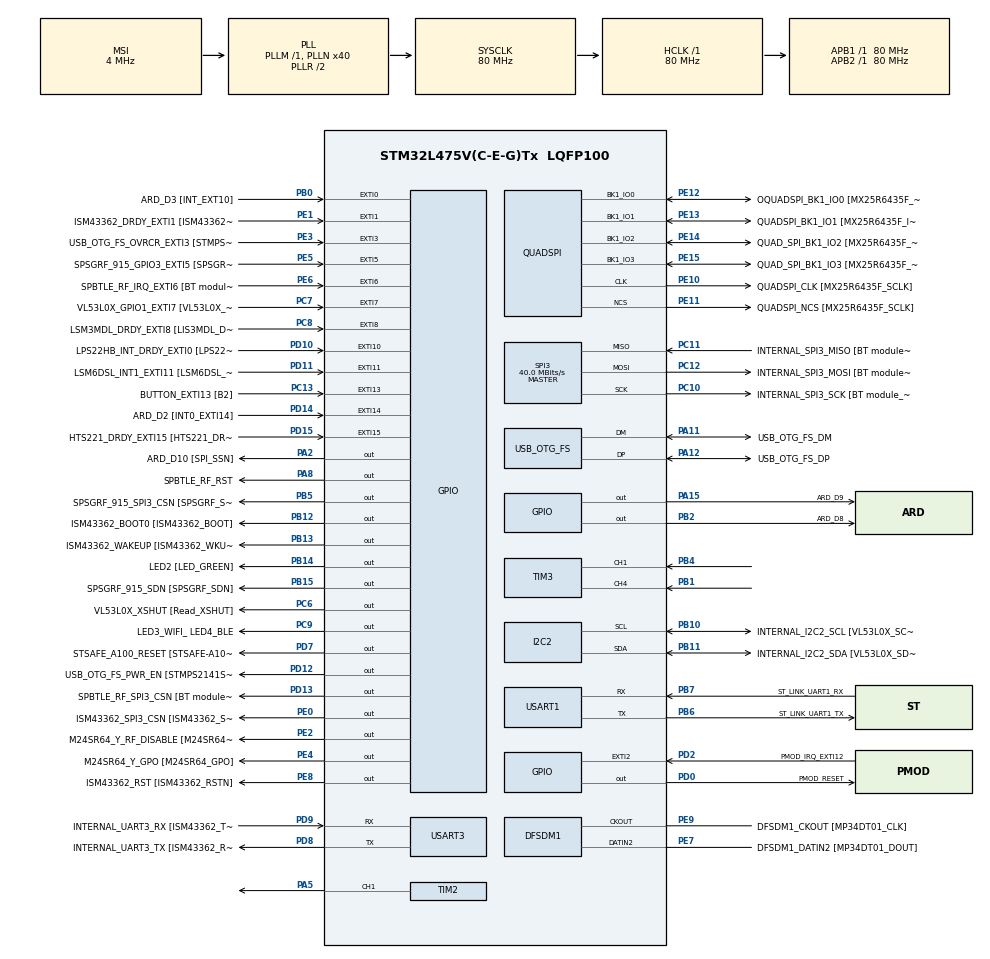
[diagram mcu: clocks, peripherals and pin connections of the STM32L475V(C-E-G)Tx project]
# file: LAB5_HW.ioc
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I2C2.Timing=0x10D19CE4
Mcu.Family=STM32L4
Mcu.Name=STM32L475V(C-E-G)Tx
Mcu.Package=LQFP100
NVIC.EXTI15_10_IRQn=true\:0\:0\:false\:false\:true\:true\:true\:true
NVIC.EXTI9_5_IRQn=true\:0\:0\:false\:false\:true\:true\:true\:true
NVIC.PriorityGroup=NVIC_PRIORITYGROUP_4
NVIC.TIM3_IRQn=true\:0\:0\:false\:false\:true\:true\:true\:true
PA0.GPIO_Label=ARD_D1 [UART4_TX]
PA0.Signal=UART4_TX
PA1.GPIO_Label=ARD_D0 [UART4_RX]
PA1.Signal=UART4_RX
PA10.GPIO_Label=USB_OTG_FS_ID
PA10.Signal=USB_OTG_FS_ID
PA11.GPIO_Label=USB_OTG_FS_DM
PA11.Mode=Device_Only
PA11.Signal=USB_OTG_FS_DM
PA12.GPIO_Label=USB_OTG_FS_DP
PA12.Mode=Device_Only
PA12.Signal=USB_OTG_FS_DP
PA13\ (JTMS-SWDIO).GPIO_Label=SYS_JTMS_SWDIO
PA13\ (JTMS-SWDIO).Mode=Serial_Wire
PA13\ (JTMS-SWDIO).Signal=SYS_JTMS-SWDIO
PA14\ (JTCK-SWCLK).GPIO_Label=SYS_JTCK_SWCLK
PA14\ (JTCK-SWCLK).Mode=Serial_Wire
PA14\ (JTCK-SWCLK).Signal=SYS_JTCK-SWCLK
PA15\ (JTDI).GPIO_Label=ARD_D9
PA15\ (JTDI).Signal=GPIO_Output
PA2.GPIO_Label=ARD_D10 [SPI_SSN]
PA2.Signal=GPIO_Output
PA3.GPIO_Label=ARD_D4
PA3.Signal=S_TIM2_CH4
PA4.GPIO_Label=ARD_D7
PA4.Signal=ADCx_IN9
PA5.Signal=S_TIM2_CH1
PA6.GPIO_Label=ARD_D12 [SPI1_MISO]
PA6.Signal=SPI1_MISO
PA7.GPIO_Label=ARD_D11 [SPI1_MOSI]
PA7.Signal=SPI1_MOSI
PA8.GPIO_Label=SPBTLE_RF_RST
PA8.Signal=GPIO_Output
PA9.GPIO_Label=USB_OTG_FS_VBUS [STMPS2141STR_OUT]
PA9.Signal=USB_OTG_FS_VBUS
PB0.GPIO_Label=ARD_D3 [INT_EXT10]
PB0.Signal=GPXTI0
PB1.Signal=S_TIM3_CH4
PB10.GPIO_Label=INTERNAL_I2C2_SCL [VL53L0X_SCL]
PB10.GPIO_Pu=GPIO_PULLUP
PB10.Mode=I2C
PB10.Signal=I2C2_SCL
PB11.GPIO_Label=INTERNAL_I2C2_SDA [VL53L0X_SDA]
PB11.GPIO_Pu=GPIO_PULLUP
PB11.Mode=I2C
PB11.Signal=I2C2_SDA
PB12.GPIO_Label=ISM43362_BOOT0 [ISM43362_BOOT]
PB12.Signal=GPIO_Output
PB13.GPIO_Label=ISM43362_WAKEUP [ISM43362_WKUP]
PB13.Signal=GPIO_Output
PB14.GPIO_Label=LED2 [LED_GREEN]
PB14.Signal=GPIO_Output
PB15.GPIO_Label=SPSGRF_915_SDN [SPSGRF_SDN]
PB15.Signal=GPIO_Output
PB2.GPIO_Label=ARD_D8
PB2.Signal=GPIO_Output
PB3\ (JTDO-TRACESWO).GPIO_Label=SYS_JTD0_SWO
PB3\ (JTDO-TRACESWO).Signal=SYS_JTDO-SWO
PB4\ (NJTRST).Signal=S_TIM3_CH1
PB5.GPIO_Label=SPSGRF_915_SPI3_CSN [SPSGRF_SPI_CS]
PB5.PinState=GPIO_PIN_SET
PB5.Signal=GPIO_Output
PB6.GPIO_Label=ST_LINK_UART1_TX
PB6.Mode=Asynchronous
PB6.Signal=USART1_TX
PB7.GPIO_Label=ST_LINK_UART1_RX
PB7.Mode=Asynchronous
PB7.Signal=USART1_RX
PB8.GPIO_Label=ARD_D15 [I2C1_SCL]
PB8.Signal=I2C1_SCL
PB9.GPIO_Label=ARD_D14 [I2C1_SDA]
PB9.Signal=I2C1_SDA
PC0.GPIO_Label=ARD_A5 [ADC]
PC0.Signal=ADCx_IN1
PC1.GPIO_Label=ARD_A4 [ADC]
PC1.Signal=ADCx_IN2
PC10.GPIO_Label=INTERNAL_SPI3_SCK [BT module_SPI_SCLK] [ISM43362_SCK]
PC10.Mode=Full_Duplex_Master
PC10.Signal=SPI3_SCK
PC11.GPIO_Label=INTERNAL_SPI3_MISO [BT module_SPI_MISO] [ISM43362_MISO]
PC11.Mode=Full_Duplex_Master
PC11.Signal=SPI3_MISO
PC12.GPIO_Label=INTERNAL_SPI3_MOSI [BT module_SPI_MOSI] [ISM43362_MOSI]
PC12.Mode=Full_Duplex_Master
PC12.Signal=SPI3_MOSI
PC13.GPIO_Label=BUTTON_EXTI13 [B2]
PC13.GPIO_ModeDefaultEXTI=GPIO_MODE_IT_FALLING
PC13.Signal=GPXTI13
PC14-OSC32_IN\ (PC14).Mode=LSE-External-Oscillator
PC14-OSC32_IN\ (PC14).Signal=RCC_OSC32_IN
PC15-OSC32_OUT\ (PC15).Mode=LSE-External-Oscillator
PC15-OSC32_OUT\ (PC15).Signal=RCC_OSC32_OUT
PC2.GPIO_Label=ARD_A3 [ADC]
PC2.Signal=ADCx_IN3
PC3.GPIO_Label=ARD_A2 [ADC]
PC3.Signal=ADCx_IN4
PC4.GPIO_Label=ARD_A1 [ADC]
PC4.Signal=ADCx_IN13
PC5.GPIO_Label=ARD_A0 [ADC]
PC5.Signal=ADCx_IN14
PC6.GPIO_Label=VL53L0X_XSHUT [Read_XSHUT]
PC6.Signal=GPIO_Output
PC7.GPIO_Label=VL53L0X_GPIO1_EXTI7 [VL53L0X_GPIO1]
PC7.Signal=GPXTI7
PC8.GPIO_Label=LSM3MDL_DRDY_EXTI8 [LIS3MDL_DRDY]
PC8.Signal=GPXTI8
PC9.GPIO_Label=LED3_WIFI_ LED4_BLE
PC9.Signal=GPIO_Output
PD0.GPIO_Label=PMOD_RESET
PD0.Signal=GPIO_Output
PD1.GPIO_Label=PMOD_SPI2_SCK
PD1.Signal=SPI2_SCK
PD10.GPIO_Label=LPS22HB_INT_DRDY_EXTI0 [LPS22HB_INT_DRDY] 
PD10.Signal=GPXTI10
PD11.GPIO_Label=LSM6DSL_INT1_EXTI11 [LSM6DSL_INT1]
PD11.Signal=GPXTI11
PD12.GPIO_Label=USB_OTG_FS_PWR_EN [STMPS2141STR_EN]
PD12.Signal=GPIO_Output
PD13.GPIO_Label=SPBTLE_RF_SPI3_CSN [BT module_SPI_CS]
PD13.PinState=GPIO_PIN_SET
PD13.Signal=GPIO_Output
PD14.GPIO_Label=ARD_D2 [INT0_EXTI14]
PD14.Signal=GPXTI14
PD15.GPIO_Label=HTS221_DRDY_EXTI15 [HTS221_DRDY]
PD15.Signal=GPXTI15
PD2.GPIO_Label=PMOD_IRQ_EXTI12
PD2.Signal=GPXTI2
PD3.GPIO_Label=PMOD_UART2_CTS
PD3.Signal=USART2_CTS
PD4.GPIO_Label=PMOD_UART2_RTS
PD4.Signal=USART2_RTS
PD5.GPIO_Label=PMOD_UART2_TX
PD5.Signal=USART2_TX
PD6.GPIO_Label=PMOD_UART2_RX
PD6.Signal=USART2_RX
PD7.GPIO_Label=STSAFE_A100_RESET [STSAFE-A100_RESET]
PD7.Signal=GPIO_Output
PD8.GPIO_Label=INTERNAL_UART3_TX [ISM43362_RX]
PD8.Mode=Asynchronous
PD8.Signal=USART3_TX
PD9.GPIO_Label=INTERNAL_UART3_RX [ISM43362_TX]
PD9.Mode=Asynchronous
PD9.Signal=USART3_RX
PE0.GPIO_Label=ISM43362_SPI3_CSN [ISM43362_SSN]
PE0.PinState=GPIO_PIN_SET
PE0.Signal=GPIO_Output
PE1.GPIO_Label=ISM43362_DRDY_EXTI1 [ISM43362_DATARDY]
PE1.Signal=GPXTI1
PE10.GPIO_Label=QUADSPI_CLK [MX25R6435F_SCLK]
PE10.Mode=Single Bank
PE10.Signal=QUADSPI_CLK
PE11.GPIO_Label=QUADSPI_NCS [MX25R6435F_SCLK]
PE11.Mode=Single Bank
PE11.Signal=QUADSPI_NCS
PE12.GPIO_Label=OQUADSPI_BK1_IO0 [MX25R6435F_IO0]
PE12.Mode=Single Bank
PE12.Signal=QUADSPI_BK1_IO0
PE13.GPIO_Label=QUADSPI_BK1_IO1 [MX25R6435F_IO1]
PE13.Mode=Single Bank
PE13.Signal=QUADSPI_BK1_IO1
PE14.GPIO_Label=QUAD_SPI_BK1_IO2 [MX25R6435F_IO2]
PE14.Mode=Single Bank
PE14.Signal=QUADSPI_BK1_IO2
PE15.GPIO_Label=QUAD_SPI_BK1_IO3 [MX25R6435F_IO3]
PE15.Mode=Single Bank
PE15.Signal=QUADSPI_BK1_IO3
PE2.GPIO_Label=M24SR64_Y_RF_DISABLE [M24SR64_RFDIS]
PE2.Signal=GPIO_Output
PE3.GPIO_Label=USB_OTG_FS_OVRCR_EXTI3 [STMPS2141STR_FAULT]
PE3.Signal=GPXTI3
PE4.GPIO_Label=M24SR64_Y_GPO [M24SR64_GPO]
PE4.Signal=GPIO_Output
PE5.GPIO_Label=SPSGRF_915_GPIO3_EXTI5 [SPSGRF_GPIO_3]
PE5.Signal=GPXTI5
PE6.GPIO_Label=SPBTLE_RF_IRQ_EXTI6 [BT module_SPI_IRQ]
PE6.Signal=GPXTI6
PE7.GPIO_Label=DFSDM1_DATIN2 [MP34DT01_DOUT]
PE7.Signal=S_DATAIN2DFSDM1
PE8.GPIO_Label=ISM43362_RST [ISM43362_RSTN]
PE8.Signal=GPIO_Output
PE9.GPIO_Label=DFSDM1_CKOUT [MP34DT01_CLK]
PE9.Signal=S_CKOUTDFSDM1
ProjectManager.HeapSize=0x200
ProjectManager.StackSize=0x400
ProjectManager.TargetToolchain=STM32CubeIDE
QUADSPI.ClockPrescaler=2
QUADSPI.FifoThreshold=4
QUADSPI.FlashSize=23
QUADSPI.SampleShifting=QSPI_SAMPLE_SHIFTING_HALFCYCLE
RCC.ADCFreq_Value=48000000
RCC.AHBFreq_Value=80000000
RCC.APB1Freq_Value=80000000
RCC.APB1TimFreq_Value=80000000
RCC.APB2Freq_Value=80000000
RCC.APB2TimFreq_Value=80000000
RCC.CortexFreq_Value=80000000
RCC.HCLKFreq_Value=80000000
RCC.HSE_VALUE=8000000
RCC.HSI_VALUE=16000000
RCC.MSI_VALUE=4000000
RCC.PLLN=40
RCC.PLLSAI1N=24
RCC.SYSCLKFreq_VALUE=80000000
RCC.SYSCLKSource=RCC_SYSCLKSOURCE_PLLCLK
RCC.USBFreq_Value=48000000
RCC.VCOOutputFreq_Value=160000000
SH.ADCx_IN1.0=ADC1_IN1
SH.ADCx_IN13.0=ADC1_IN13
SH.ADCx_IN14.0=ADC1_IN14
SH.ADCx_IN2.0=ADC1_IN2
SH.ADCx_IN3.0=ADC1_IN3
SH.ADCx_IN4.0=ADC1_IN4
SH.ADCx_IN9.0=ADC1_IN9
SH.S_CKOUTDFSDM1.0=DFSDM1_CKOUT,CKOUT
SH.S_CKOUTDFSDM1.1=DFSDM1_CKOUT,PDM_SPI_Input_from_ch12_and_Internal_Clock
SH.S_DATAIN2DFSDM1.0=DFSDM1_DATIN2,PDM_SPI_Input_from_ch12_and_Internal_Clock
SH.S_TIM2_CH1.0=TIM2_CH1,PWM Generation1 CH1
SH.S_TIM2_CH4.0=TIM2_CH4
SH.S_TIM3_CH1.0=TIM3_CH1,Input_Capture1_from_TI1
SH.S_TIM3_CH4.0=TIM3_CH4,Input_Capture4_from_TI4
SPI3.CalculateBaudRate=40.0 MBits/s
SPI3.Direction=SPI_DIRECTION_2LINES
SPI3.Mode=SPI_MODE_MASTER
SPI3.VirtualType=VM_MASTER
TIM2.Channel-PWM\ Generation1\ CH1=TIM_CHANNEL_1
TIM2.Period=100-1
TIM2.Prescaler=800-1
TIM3.Channel-Input_Capture1_from_TI1=TIM_CHANNEL_1
TIM3.Channel-Input_Capture4_from_TI4=TIM_CHANNEL_4
USART1.VirtualMode-Asynchronous=VM_ASYNC
USART3.VirtualMode-Asynchronous=VM_ASYNC
USB_OTG_FS.VirtualMode=Device_Only
board=B-L475E-IOT01A2

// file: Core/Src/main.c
/* USER CODE BEGIN Header */
/**
  ******************************************************************************
  * @file           : main.c
  * @brief          : Main program body
  ******************************************************************************
  * @attention
  *
  * Copyright (c) 2025 STMicroelectronics.
  * All rights reserved.
  *
  * This software is licensed under terms that can be found in the LICENSE file
  * in the root directory of this software component.
  * If no LICENSE file comes with this software, it is provided AS-IS.
  *
  ******************************************************************************
  */
/* USER CODE END Header */
#include "main.h"

DFSDM_Channel_HandleTypeDef hdfsdm1_channel1;

I2C_HandleTypeDef hi2c2;

QSPI_HandleTypeDef hqspi;

SPI_HandleTypeDef hspi3;

TIM_HandleTypeDef htim2;
TIM_HandleTypeDef htim3;

UART_HandleTypeDef huart1;
UART_HandleTypeDef huart3;

PCD_HandleTypeDef hpcd_USB_OTG_FS;

void SystemClock_Config(void);
static void MX_GPIO_Init(void);
static void MX_DFSDM1_Init(void);
static void MX_I2C2_Init(void);
static void MX_QUADSPI_Init(void);
static void MX_SPI3_Init(void);
static void MX_USART1_UART_Init(void);
static void MX_USART3_UART_Init(void);
static void MX_USB_OTG_FS_PCD_Init(void);
static void MX_TIM2_Init(void);
static void MX_TIM3_Init(void);

int main(void)
{

  /* MCU Configuration--------------------------------------------------------*/

  /* Reset of all peripherals, Initializes the Flash interface and the Systick. */
  HAL_Init();

  /* Configure the system clock */
  SystemClock_Config();

  /* Initialize all configured peripherals */
  MX_GPIO_Init();
  MX_DFSDM1_Init();
  MX_I2C2_Init();
  MX_QUADSPI_Init();
  MX_SPI3_Init();
  MX_USART1_UART_Init();
  MX_USART3_UART_Init();
  MX_USB_OTG_FS_PCD_Init();
  MX_TIM2_Init();
  MX_TIM3_Init();
  /* USER CODE BEGIN 2 */
  HAL_TIM_PWM_Start(&htim2, TIM_CHANNEL_1);
  HAL_TIM_IC_Start_IT(&htim3, TIM_CHANNEL_1);
  HAL_TIM_IC_Start_IT(&htim3, TIM_CHANNEL_4);

  /* USER CODE END 2 */

  /* Infinite loop */
  while (1)
  {
	  TIM2->CCR1 = 10;
  }
}

/* USER CODE BEGIN 4 */
uint32_t last_capture = 0;
float freq = 0;
volatile int x = 0;

void HAL_TIM_IC_CaptureCallback(TIM_HandleTypeDef *htim)
{
  if (htim->Instance == TIM3 && htim->Channel == HAL_TIM_ACTIVE_CHANNEL_1)
  {
    uint32_t current = HAL_TIM_ReadCapturedValue(htim, TIM_CHANNEL_1);
    uint32_t diff = (current >= last_capture) ? (current - last_capture) : (0xFFFF - last_capture + current);
    last_capture = current;
    x++;

    if (diff != 0) {
      // 頻率 = timer clock / prescaler / diff ticks
      float timer_clk = 80000000.0f; // 假設為 80MHz（APB1 Timer Clock）
      freq = (timer_clk / (htim->Init.Prescaler + 1)) / diff / 5530 * 100;
    } else {
      freq = 0;
    }
  }
}

/**
  * @brief System Clock Configuration
  * @retval None
  */
void SystemClock_Config(void)
{
  RCC_OscInitTypeDef RCC_OscInitStruct = {0};
  RCC_ClkInitTypeDef RCC_ClkInitStruct = {0};

  /** Configure the main internal regulator output voltage
  */
  if (HAL_PWREx_ControlVoltageScaling(PWR_REGULATOR_VOLTAGE_SCALE1) != HAL_OK)
  {
    Error_Handler();
  }

  /** Configure LSE Drive Capability
  */
  HAL_PWR_EnableBkUpAccess();
  __HAL_RCC_LSEDRIVE_CONFIG(RCC_LSEDRIVE_LOW);

  /** Initializes the RCC Oscillators according to the specified parameters
  * in the RCC_OscInitTypeDef structure.
  */
  RCC_OscInitStruct.OscillatorType = RCC_OSCILLATORTYPE_LSE|RCC_OSCILLATORTYPE_MSI;
  RCC_OscInitStruct.LSEState = RCC_LSE_ON;
  RCC_OscInitStruct.MSIState = RCC_MSI_ON;
  RCC_OscInitStruct.MSICalibrationValue = 0;
  RCC_OscInitStruct.MSIClockRange = RCC_MSIRANGE_6;
  RCC_OscInitStruct.PLL.PLLState = RCC_PLL_ON;
  RCC_OscInitStruct.PLL.PLLSource = RCC_PLLSOURCE_MSI;
  RCC_OscInitStruct.PLL.PLLM = 1;
  RCC_OscInitStruct.PLL.PLLN = 40;
  RCC_OscInitStruct.PLL.PLLP = RCC_PLLP_DIV7;
  RCC_OscInitStruct.PLL.PLLQ = RCC_PLLQ_DIV2;
  RCC_OscInitStruct.PLL.PLLR = RCC_PLLR_DIV2;
  if (HAL_RCC_OscConfig(&RCC_OscInitStruct) != HAL_OK)
  {
    Error_Handler();
  }

  /** Initializes the CPU, AHB and APB buses clocks
  */
  RCC_ClkInitStruct.ClockType = RCC_CLOCKTYPE_HCLK|RCC_CLOCKTYPE_SYSCLK
                              |RCC_CLOCKTYPE_PCLK1|RCC_CLOCKTYPE_PCLK2;
  RCC_ClkInitStruct.SYSCLKSource = RCC_SYSCLKSOURCE_PLLCLK;
  RCC_ClkInitStruct.AHBCLKDivider = RCC_SYSCLK_DIV1;
  RCC_ClkInitStruct.APB1CLKDivider = RCC_HCLK_DIV1;
  RCC_ClkInitStruct.APB2CLKDivider = RCC_HCLK_DIV1;

  if (HAL_RCC_ClockConfig(&RCC_ClkInitStruct, FLASH_LATENCY_4) != HAL_OK)
  {
    Error_Handler();
  }

  /** Enable MSI Auto calibration
  */
  HAL_RCCEx_EnableMSIPLLMode();
}

/**
  * @brief DFSDM1 Initialization Function
  * @param None
  * @retval None
  */
static void MX_DFSDM1_Init(void)
{

  /* USER CODE BEGIN DFSDM1_Init 0 */

  /* USER CODE END DFSDM1_Init 0 */

  /* USER CODE BEGIN DFSDM1_Init 1 */

  /* USER CODE END DFSDM1_Init 1 */
  hdfsdm1_channel1.Instance = DFSDM1_Channel1;
  hdfsdm1_channel1.Init.OutputClock.Activation = ENABLE;
  hdfsdm1_channel1.Init.OutputClock.Selection = DFSDM_CHANNEL_OUTPUT_CLOCK_SYSTEM;
  hdfsdm1_channel1.Init.OutputClock.Divider = 2;
  hdfsdm1_channel1.Init.Input.Multiplexer = DFSDM_CHANNEL_EXTERNAL_INPUTS;
  hdfsdm1_channel1.Init.Input.DataPacking = DFSDM_CHANNEL_STANDARD_MODE;
  hdfsdm1_channel1.Init.Input.Pins = DFSDM_CHANNEL_FOLLOWING_CHANNEL_PINS;
  hdfsdm1_channel1.Init.SerialInterface.Type = DFSDM_CHANNEL_SPI_RISING;
  hdfsdm1_channel1.Init.SerialInterface.SpiClock = DFSDM_CHANNEL_SPI_CLOCK_INTERNAL;
  hdfsdm1_channel1.Init.Awd.FilterOrder = DFSDM_CHANNEL_FASTSINC_ORDER;
  hdfsdm1_channel1.Init.Awd.Oversampling = 1;
  hdfsdm1_channel1.Init.Offset = 0;
  hdfsdm1_channel1.Init.RightBitShift = 0x00;
  if (HAL_DFSDM_ChannelInit(&hdfsdm1_channel1) != HAL_OK)
  {
    Error_Handler();
  }
  /* USER CODE BEGIN DFSDM1_Init 2 */

  /* USER CODE END DFSDM1_Init 2 */

}

/**
  * @brief I2C2 Initialization Function
  * @param None
  * @retval None
  */
static void MX_I2C2_Init(void)
{

  /* USER CODE BEGIN I2C2_Init 0 */

  /* USER CODE END I2C2_Init 0 */

  /* USER CODE BEGIN I2C2_Init 1 */

  /* USER CODE END I2C2_Init 1 */
  hi2c2.Instance = I2C2;
  hi2c2.Init.Timing = 0x10D19CE4;
  hi2c2.Init.OwnAddress1 = 0;
  hi2c2.Init.AddressingMode = I2C_ADDRESSINGMODE_7BIT;
  hi2c2.Init.DualAddressMode = I2C_DUALADDRESS_DISABLE;
  hi2c2.Init.OwnAddress2 = 0;
  hi2c2.Init.OwnAddress2Masks = I2C_OA2_NOMASK;
  hi2c2.Init.GeneralCallMode = I2C_GENERALCALL_DISABLE;
  hi2c2.Init.NoStretchMode = I2C_NOSTRETCH_DISABLE;
  if (HAL_I2C_Init(&hi2c2) != HAL_OK)
  {
    Error_Handler();
  }

  /** Configure Analogue filter
  */
  if (HAL_I2CEx_ConfigAnalogFilter(&hi2c2, I2C_ANALOGFILTER_ENABLE) != HAL_OK)
  {
    Error_Handler();
  }

  /** Configure Digital filter
  */
  if (HAL_I2CEx_ConfigDigitalFilter(&hi2c2, 0) != HAL_OK)
  {
    Error_Handler();
  }
  /* USER CODE BEGIN I2C2_Init 2 */

  /* USER CODE END I2C2_Init 2 */

}

/**
  * @brief QUADSPI Initialization Function
  * @param None
  * @retval None
  */
static void MX_QUADSPI_Init(void)
{

  /* USER CODE BEGIN QUADSPI_Init 0 */

  /* USER CODE END QUADSPI_Init 0 */

  /* USER CODE BEGIN QUADSPI_Init 1 */

  /* USER CODE END QUADSPI_Init 1 */
  /* QUADSPI parameter configuration*/
  hqspi.Instance = QUADSPI;
  hqspi.Init.ClockPrescaler = 2;
  hqspi.Init.FifoThreshold = 4;
  hqspi.Init.SampleShifting = QSPI_SAMPLE_SHIFTING_HALFCYCLE;
  hqspi.Init.FlashSize = 23;
  hqspi.Init.ChipSelectHighTime = QSPI_CS_HIGH_TIME_1_CYCLE;
  hqspi.Init.ClockMode = QSPI_CLOCK_MODE_0;
  if (HAL_QSPI_Init(&hqspi) != HAL_OK)
  {
    Error_Handler();
  }
  /* USER CODE BEGIN QUADSPI_Init 2 */

  /* USER CODE END QUADSPI_Init 2 */

}

/**
  * @brief SPI3 Initialization Function
  * @param None
  * @retval None
  */
static void MX_SPI3_Init(void)
{

  /* USER CODE BEGIN SPI3_Init 0 */

  /* USER CODE END SPI3_Init 0 */

  /* USER CODE BEGIN SPI3_Init 1 */

  /* USER CODE END SPI3_Init 1 */
  /* SPI3 parameter configuration*/
  hspi3.Instance = SPI3;
  hspi3.Init.Mode = SPI_MODE_MASTER;
  hspi3.Init.Direction = SPI_DIRECTION_2LINES;
  hspi3.Init.DataSize = SPI_DATASIZE_4BIT;
  hspi3.Init.CLKPolarity = SPI_POLARITY_LOW;
  hspi3.Init.CLKPhase = SPI_PHASE_1EDGE;
  hspi3.Init.NSS = SPI_NSS_SOFT;
  hspi3.Init.BaudRatePrescaler = SPI_BAUDRATEPRESCALER_2;
  hspi3.Init.FirstBit = SPI_FIRSTBIT_MSB;
  hspi3.Init.TIMode = SPI_TIMODE_DISABLE;
  hspi3.Init.CRCCalculation = SPI_CRCCALCULATION_DISABLE;
  hspi3.Init.CRCPolynomial = 7;
  hspi3.Init.CRCLength = SPI_CRC_LENGTH_DATASIZE;
  hspi3.Init.NSSPMode = SPI_NSS_PULSE_ENABLE;
  if (HAL_SPI_Init(&hspi3) != HAL_OK)
  {
    Error_Handler();
  }
  /* USER CODE BEGIN SPI3_Init 2 */

  /* USER CODE END SPI3_Init 2 */

}

/**
  * @brief TIM2 Initialization Function
  * @param None
  * @retval None
  */
static void MX_TIM2_Init(void)
{

  /* USER CODE BEGIN TIM2_Init 0 */

  /* USER CODE END TIM2_Init 0 */

  TIM_MasterConfigTypeDef sMasterConfig = {0};
  TIM_OC_InitTypeDef sConfigOC = {0};

  /* USER CODE BEGIN TIM2_Init 1 */

  /* USER CODE END TIM2_Init 1 */
  htim2.Instance = TIM2;
  htim2.Init.Prescaler = 800-1;
  htim2.Init.CounterMode = TIM_COUNTERMODE_UP;
  htim2.Init.Period = 100-1;
  htim2.Init.ClockDivision = TIM_CLOCKDIVISION_DIV1;
  htim2.Init.AutoReloadPreload = TIM_AUTORELOAD_PRELOAD_DISABLE;
  if (HAL_TIM_PWM_Init(&htim2) != HAL_OK)
  {
    Error_Handler();
  }
  sMasterConfig.MasterOutputTrigger = TIM_TRGO_RESET;
  sMasterConfig.MasterSlaveMode = TIM_MASTERSLAVEMODE_DISABLE;
  if (HAL_TIMEx_MasterConfigSynchronization(&htim2, &sMasterConfig) != HAL_OK)
  {
    Error_Handler();
  }
  sConfigOC.OCMode = TIM_OCMODE_PWM1;
  sConfigOC.Pulse = 0;
  sConfigOC.OCPolarity = TIM_OCPOLARITY_HIGH;
  sConfigOC.OCFastMode = TIM_OCFAST_DISABLE;
  if (HAL_TIM_PWM_ConfigChannel(&htim2, &sConfigOC, TIM_CHANNEL_1) != HAL_OK)
  {
    Error_Handler();
  }
  /* USER CODE BEGIN TIM2_Init 2 */

  /* USER CODE END TIM2_Init 2 */
  HAL_TIM_MspPostInit(&htim2);

}

/**
  * @brief TIM3 Initialization Function
  * @param None
  * @retval None
  */
static void MX_TIM3_Init(void)
{

  /* USER CODE BEGIN TIM3_Init 0 */

  /* USER CODE END TIM3_Init 0 */

  TIM_MasterConfigTypeDef sMasterConfig = {0};
  TIM_IC_InitTypeDef sConfigIC = {0};

  /* USER CODE BEGIN TIM3_Init 1 */

  /* USER CODE END TIM3_Init 1 */
  htim3.Instance = TIM3;
  htim3.Init.Prescaler = 0;
  htim3.Init.CounterMode = TIM_COUNTERMODE_UP;
  htim3.Init.Period = 65535;
  htim3.Init.ClockDivision = TIM_CLOCKDIVISION_DIV1;
  htim3.Init.AutoReloadPreload = TIM_AUTORELOAD_PRELOAD_DISABLE;
  if (HAL_TIM_IC_Init(&htim3) != HAL_OK)
  {
    Error_Handler();
  }
  sMasterConfig.MasterOutputTrigger = TIM_TRGO_RESET;
  sMasterConfig.MasterSlaveMode = TIM_MASTERSLAVEMODE_DISABLE;
  if (HAL_TIMEx_MasterConfigSynchronization(&htim3, &sMasterConfig) != HAL_OK)
  {
    Error_Handler();
  }
  sConfigIC.ICPolarity = TIM_INPUTCHANNELPOLARITY_RISING;
  sConfigIC.ICSelection = TIM_ICSELECTION_DIRECTTI;
  sConfigIC.ICPrescaler = TIM_ICPSC_DIV1;
  sConfigIC.ICFilter = 0;
  if (HAL_TIM_IC_ConfigChannel(&htim3, &sConfigIC, TIM_CHANNEL_1) != HAL_OK)
  {
    Error_Handler();
  }
  if (HAL_TIM_IC_ConfigChannel(&htim3, &sConfigIC, TIM_CHANNEL_4) != HAL_OK)
  {
    Error_Handler();
  }
  /* USER CODE BEGIN TIM3_Init 2 */
//  HAL_NVIC_SetPriority(TIM3_IRQn, 0, 0);
//  HAL_NVIC_EnableIRQ(TIM3_IRQn);

  /* USER CODE END TIM3_Init 2 */

}

/**
  * @brief USART1 Initialization Function
  * @param None
  * @retval None
  */
static void MX_USART1_UART_Init(void)
{

  /* USER CODE BEGIN USART1_Init 0 */

  /* USER CODE END USART1_Init 0 */

  /* USER CODE BEGIN USART1_Init 1 */

  /* USER CODE END USART1_Init 1 */
  huart1.Instance = USART1;
  huart1.Init.BaudRate = 115200;
  huart1.Init.WordLength = UART_WORDLENGTH_8B;
  huart1.Init.StopBits = UART_STOPBITS_1;
  huart1.Init.Parity = UART_PARITY_NONE;
  huart1.Init.Mode = UART_MODE_TX_RX;
  huart1.Init.HwFlowCtl = UART_HWCONTROL_NONE;
  huart1.Init.OverSampling = UART_OVERSAMPLING_16;
  huart1.Init.OneBitSampling = UART_ONE_BIT_SAMPLE_DISABLE;
  huart1.AdvancedInit.AdvFeatureInit = UART_ADVFEATURE_NO_INIT;
  if (HAL_UART_Init(&huart1) != HAL_OK)
  {
    Error_Handler();
  }
  /* USER CODE BEGIN USART1_Init 2 */

  /* USER CODE END USART1_Init 2 */

}

/**
  * @brief USART3 Initialization Function
  * @param None
  * @retval None
  */
static void MX_USART3_UART_Init(void)
{

  /* USER CODE BEGIN USART3_Init 0 */

  /* USER CODE END USART3_Init 0 */

  /* USER CODE BEGIN USART3_Init 1 */

  /* USER CODE END USART3_Init 1 */
  huart3.Instance = USART3;
  huart3.Init.BaudRate = 115200;
  huart3.Init.WordLength = UART_WORDLENGTH_8B;
  huart3.Init.StopBits = UART_STOPBITS_1;
  huart3.Init.Parity = UART_PARITY_NONE;
  huart3.Init.Mode = UART_MODE_TX_RX;
  huart3.Init.HwFlowCtl = UART_HWCONTROL_NONE;
  huart3.Init.OverSampling = UART_OVERSAMPLING_16;
  huart3.Init.OneBitSampling = UART_ONE_BIT_SAMPLE_DISABLE;
  huart3.AdvancedInit.AdvFeatureInit = UART_ADVFEATURE_NO_INIT;
  if (HAL_UART_Init(&huart3) != HAL_OK)
  {
    Error_Handler();
  }
  /* USER CODE BEGIN USART3_Init 2 */

  /* USER CODE END USART3_Init 2 */

}

/**
  * @brief USB_OTG_FS Initialization Function
  * @param None
  * @retval None
  */
static void MX_USB_OTG_FS_PCD_Init(void)
{

  /* USER CODE BEGIN USB_OTG_FS_Init 0 */

  /* USER CODE END USB_OTG_FS_Init 0 */

  /* USER CODE BEGIN USB_OTG_FS_Init 1 */

  /* USER CODE END USB_OTG_FS_Init 1 */
  hpcd_USB_OTG_FS.Instance = USB_OTG_FS;
  hpcd_USB_OTG_FS.Init.dev_endpoints = 6;
  hpcd_USB_OTG_FS.Init.speed = PCD_SPEED_FULL;
  hpcd_USB_OTG_FS.Init.phy_itface = PCD_PHY_EMBEDDED;
  hpcd_USB_OTG_FS.Init.Sof_enable = DISABLE;
  hpcd_USB_OTG_FS.Init.low_power_enable = DISABLE;
  hpcd_USB_OTG_FS.Init.lpm_enable = DISABLE;
  hpcd_USB_OTG_FS.Init.battery_charging_enable = DISABLE;
  hpcd_USB_OTG_FS.Init.use_dedicated_ep1 = DISABLE;
  hpcd_USB_OTG_FS.Init.vbus_sensing_enable = DISABLE;
  if (HAL_PCD_Init(&hpcd_USB_OTG_FS) != HAL_OK)
  {
    Error_Handler();
  }
  /* USER CODE BEGIN USB_OTG_FS_Init 2 */

  /* USER CODE END USB_OTG_FS_Init 2 */

}

/**
  * @brief GPIO Initialization Function
  * @param None
  * @retval None
  */
static void MX_GPIO_Init(void)
{
  GPIO_InitTypeDef GPIO_InitStruct = {0};
/* USER CODE BEGIN MX_GPIO_Init_1 */
/* USER CODE END MX_GPIO_Init_1 */

  /* GPIO Ports Clock Enable */
  __HAL_RCC_GPIOE_CLK_ENABLE();
  __HAL_RCC_GPIOC_CLK_ENABLE();
  __HAL_RCC_GPIOA_CLK_ENABLE();
  __HAL_RCC_GPIOB_CLK_ENABLE();
  __HAL_RCC_GPIOD_CLK_ENABLE();

  /*Configure GPIO pin Output Level */
  HAL_GPIO_WritePin(GPIOE, M24SR64_Y_RF_DISABLE_Pin|M24SR64_Y_GPO_Pin|ISM43362_RST_Pin, GPIO_PIN_RESET);

  /*Configure GPIO pin Output Level */
  HAL_GPIO_WritePin(GPIOA, ARD_D10_Pin|SPBTLE_RF_RST_Pin|ARD_D9_Pin, GPIO_PIN_RESET);

  /*Configure GPIO pin Output Level */
  HAL_GPIO_WritePin(GPIOB, ARD_D8_Pin|ISM43362_BOOT0_Pin|ISM43362_WAKEUP_Pin|LED2_Pin
                          |SPSGRF_915_SDN_Pin, GPIO_PIN_RESET);

  /*Configure GPIO pin Output Level */
  HAL_GPIO_WritePin(GPIOD, USB_OTG_FS_PWR_EN_Pin|PMOD_RESET_Pin|STSAFE_A100_RESET_Pin, GPIO_PIN_RESET);

  /*Configure GPIO pin Output Level */
  HAL_GPIO_WritePin(SPBTLE_RF_SPI3_CSN_GPIO_Port, SPBTLE_RF_SPI3_CSN_Pin, GPIO_PIN_SET);

  /*Configure GPIO pin Output Level */
  HAL_GPIO_WritePin(GPIOC, VL53L0X_XSHUT_Pin|LED3_WIFI__LED4_BLE_Pin, GPIO_PIN_RESET);

  /*Configure GPIO pin Output Level */
  HAL_GPIO_WritePin(SPSGRF_915_SPI3_CSN_GPIO_Port, SPSGRF_915_SPI3_CSN_Pin, GPIO_PIN_SET);

  /*Configure GPIO pin Output Level */
  HAL_GPIO_WritePin(ISM43362_SPI3_CSN_GPIO_Port, ISM43362_SPI3_CSN_Pin, GPIO_PIN_SET);

  /*Configure GPIO pins : M24SR64_Y_RF_DISABLE_Pin M24SR64_Y_GPO_Pin ISM43362_RST_Pin ISM43362_SPI3_CSN_Pin */
  GPIO_InitStruct.Pin = M24SR64_Y_RF_DISABLE_Pin|M24SR64_Y_GPO_Pin|ISM43362_RST_Pin|ISM43362_SPI3_CSN_Pin;
  GPIO_InitStruct.Mode = GPIO_MODE_OUTPUT_PP;
  GPIO_InitStruct.Pull = GPIO_NOPULL;
  GPIO_InitStruct.Speed = GPIO_SPEED_FREQ_LOW;
  HAL_GPIO_Init(GPIOE, &GPIO_InitStruct);

  /*Configure GPIO pins : USB_OTG_FS_OVRCR_EXTI3_Pin SPSGRF_915_GPIO3_EXTI5_Pin SPBTLE_RF_IRQ_EXTI6_Pin ISM43362_DRDY_EXTI1_Pin */
  GPIO_InitStruct.Pin = USB_OTG_FS_OVRCR_EXTI3_Pin|SPSGRF_915_GPIO3_EXTI5_Pin|SPBTLE_RF_IRQ_EXTI6_Pin|ISM43362_DRDY_EXTI1_Pin;
  GPIO_InitStruct.Mode = GPIO_MODE_IT_RISING;
  GPIO_InitStruct.Pull = GPIO_NOPULL;
  HAL_GPIO_Init(GPIOE, &GPIO_InitStruct);

  /*Configure GPIO pin : BUTTON_EXTI13_Pin */
  GPIO_InitStruct.Pin = BUTTON_EXTI13_Pin;
  GPIO_InitStruct.Mode = GPIO_MODE_IT_FALLING;
  GPIO_InitStruct.Pull = GPIO_NOPULL;
  HAL_GPIO_Init(BUTTON_EXTI13_GPIO_Port, &GPIO_InitStruct);

  /*Configure GPIO pins : ARD_A5_Pin ARD_A4_Pin ARD_A3_Pin ARD_A2_Pin
                           ARD_A1_Pin ARD_A0_Pin */
  GPIO_InitStruct.Pin = ARD_A5_Pin|ARD_A4_Pin|ARD_A3_Pin|ARD_A2_Pin
                          |ARD_A1_Pin|ARD_A0_Pin;
  GPIO_InitStruct.Mode = GPIO_MODE_ANALOG_ADC_CONTROL;
  GPIO_InitStruct.Pull = GPIO_NOPULL;
  HAL_GPIO_Init(GPIOC, &GPIO_InitStruct);

  /*Configure GPIO pins : ARD_D1_Pin ARD_D0_Pin */
  GPIO_InitStruct.Pin = ARD_D1_Pin|ARD_D0_Pin;
  GPIO_InitStruct.Mode = GPIO_MODE_AF_PP;
  GPIO_InitStruct.Pull = GPIO_NOPULL;
  GPIO_InitStruct.Speed = GPIO_SPEED_FREQ_VERY_HIGH;
  GPIO_InitStruct.Alternate = GPIO_AF8_UART4;
  HAL_GPIO_Init(GPIOA, &GPIO_InitStruct);

  /*Configure GPIO pins : ARD_D10_Pin SPBTLE_RF_RST_Pin ARD_D9_Pin */
  GPIO_InitStruct.Pin = ARD_D10_Pin|SPBTLE_RF_RST_Pin|ARD_D9_Pin;
  GPIO_InitStruct.Mode = GPIO_MODE_OUTPUT_PP;
  GPIO_InitStruct.Pull = GPIO_NOPULL;
  GPIO_InitStruct.Speed = GPIO_SPEED_FREQ_LOW;
  HAL_GPIO_Init(GPIOA, &GPIO_InitStruct);

  /*Configure GPIO pin : ARD_D7_Pin */
  GPIO_InitStruct.Pin = ARD_D7_Pin;
  GPIO_InitStruct.Mode = GPIO_MODE_ANALOG_ADC_CONTROL;
  GPIO_InitStruct.Pull = GPIO_NOPULL;
  HAL_GPIO_Init(ARD_D7_GPIO_Port, &GPIO_InitStruct);

  /*Configure GPIO pins : ARD_D12_Pin ARD_D11_Pin */
  GPIO_InitStruct.Pin = ARD_D12_Pin|ARD_D11_Pin;
  GPIO_InitStruct.Mode = GPIO_MODE_AF_PP;
  GPIO_InitStruct.Pull = GPIO_NOPULL;
  GPIO_InitStruct.Speed = GPIO_SPEED_FREQ_VERY_HIGH;
  GPIO_InitStruct.Alternate = GPIO_AF5_SPI1;
  HAL_GPIO_Init(GPIOA, &GPIO_InitStruct);

  /*Configure GPIO pin : ARD_D3_Pin */
  GPIO_InitStruct.Pin = ARD_D3_Pin;
  GPIO_InitStruct.Mode = GPIO_MODE_IT_RISING;
  GPIO_InitStruct.Pull = GPIO_NOPULL;
  HAL_GPIO_Init(ARD_D3_GPIO_Port, &GPIO_InitStruct);

  /*Configure GPIO pins : ARD_D8_Pin ISM43362_BOOT0_Pin ISM43362_WAKEUP_Pin LED2_Pin
                           SPSGRF_915_SDN_Pin SPSGRF_915_SPI3_CSN_Pin */
  GPIO_InitStruct.Pin = ARD_D8_Pin|ISM43362_BOOT0_Pin|ISM43362_WAKEUP_Pin|LED2_Pin
                          |SPSGRF_915_SDN_Pin|SPSGRF_915_SPI3_CSN_Pin;
  GPIO_InitStruct.Mode = GPIO_MODE_OUTPUT_PP;
  GPIO_InitStruct.Pull = GPIO_NOPULL;
  GPIO_InitStruct.Speed = GPIO_SPEED_FREQ_LOW;
  HAL_GPIO_Init(GPIOB, &GPIO_InitStruct);

  /*Configure GPIO pins : LPS22HB_INT_DRDY_EXTI0_Pin LSM6DSL_INT1_EXTI11_Pin ARD_D2_Pin HTS221_DRDY_EXTI15_Pin
                           PMOD_IRQ_EXTI12_Pin */
  GPIO_InitStruct.Pin = LPS22HB_INT_DRDY_EXTI0_Pin|LSM6DSL_INT1_EXTI11_Pin|ARD_D2_Pin|HTS221_DRDY_EXTI15_Pin
                          |PMOD_IRQ_EXTI12_Pin;
  GPIO_InitStruct.Mode = GPIO_MODE_IT_RISING;
  GPIO_InitStruct.Pull = GPIO_NOPULL;
  HAL_GPIO_Init(GPIOD, &GPIO_InitStruct);

  /*Configure GPIO pins : USB_OTG_FS_PWR_EN_Pin SPBTLE_RF_SPI3_CSN_Pin PMOD_RESET_Pin STSAFE_A100_RESET_Pin */
  GPIO_InitStruct.Pin = USB_OTG_FS_PWR_EN_Pin|SPBTLE_RF_SPI3_CSN_Pin|PMOD_RESET_Pin|STSAFE_A100_RESET_Pin;
  GPIO_InitStruct.Mode = GPIO_MODE_OUTPUT_PP;
  GPIO_InitStruct.Pull = GPIO_NOPULL;
  GPIO_InitStruct.Speed = GPIO_SPEED_FREQ_LOW;
  HAL_GPIO_Init(GPIOD, &GPIO_InitStruct);

  /*Configure GPIO pins : VL53L0X_XSHUT_Pin LED3_WIFI__LED4_BLE_Pin */
  GPIO_InitStruct.Pin = VL53L0X_XSHUT_Pin|LED3_WIFI__LED4_BLE_Pin;
  GPIO_InitStruct.Mode = GPIO_MODE_OUTPUT_PP;
  GPIO_InitStruct.Pull = GPIO_NOPULL;
  GPIO_InitStruct.Speed = GPIO_SPEED_FREQ_LOW;
  HAL_GPIO_Init(GPIOC, &GPIO_InitStruct);

  /*Configure GPIO pins : VL53L0X_GPIO1_EXTI7_Pin LSM3MDL_DRDY_EXTI8_Pin */
  GPIO_InitStruct.Pin = VL53L0X_GPIO1_EXTI7_Pin|LSM3MDL_DRDY_EXTI8_Pin;
  GPIO_InitStruct.Mode = GPIO_MODE_IT_RISING;
  GPIO_InitStruct.Pull = GPIO_NOPULL;
  HAL_GPIO_Init(GPIOC, &GPIO_InitStruct);

  /*Configure GPIO pin : PMOD_SPI2_SCK_Pin */
  GPIO_InitStruct.Pin = PMOD_SPI2_SCK_Pin;
  GPIO_InitStruct.Mode = GPIO_MODE_AF_PP;
  GPIO_InitStruct.Pull = GPIO_NOPULL;
  GPIO_InitStruct.Speed = GPIO_SPEED_FREQ_VERY_HIGH;
  GPIO_InitStruct.Alternate = GPIO_AF5_SPI2;
  HAL_GPIO_Init(PMOD_SPI2_SCK_GPIO_Port, &GPIO_InitStruct);

  /*Configure GPIO pins : PMOD_UART2_CTS_Pin PMOD_UART2_RTS_Pin PMOD_UART2_TX_Pin PMOD_UART2_RX_Pin */
  GPIO_InitStruct.Pin = PMOD_UART2_CTS_Pin|PMOD_UART2_RTS_Pin|PMOD_UART2_TX_Pin|PMOD_UART2_RX_Pin;
  GPIO_InitStruct.Mode = GPIO_MODE_AF_PP;
  GPIO_InitStruct.Pull = GPIO_NOPULL;
  GPIO_InitStruct.Speed = GPIO_SPEED_FREQ_VERY_HIGH;
  GPIO_InitStruct.Alternate = GPIO_AF7_USART2;
  HAL_GPIO_Init(GPIOD, &GPIO_InitStruct);

  /*Configure GPIO pins : ARD_D15_Pin ARD_D14_Pin */
  GPIO_InitStruct.Pin = ARD_D15_Pin|ARD_D14_Pin;
  GPIO_InitStruct.Mode = GPIO_MODE_AF_OD;
  GPIO_InitStruct.Pull = GPIO_NOPULL;
  GPIO_InitStruct.Speed = GPIO_SPEED_FREQ_VERY_HIGH;
  GPIO_InitStruct.Alternate = GPIO_AF4_I2C1;
  HAL_GPIO_Init(GPIOB, &GPIO_InitStruct);

  /* EXTI interrupt init*/
  HAL_NVIC_SetPriority(EXTI9_5_IRQn, 0, 0);
  HAL_NVIC_EnableIRQ(EXTI9_5_IRQn);

  HAL_NVIC_SetPriority(EXTI15_10_IRQn, 0, 0);
  HAL_NVIC_EnableIRQ(EXTI15_10_IRQn);

/* USER CODE BEGIN MX_GPIO_Init_2 */
/* USER CODE END MX_GPIO_Init_2 */
}

/* USER CODE BEGIN 4 */

/* USER CODE END 4 */

void Error_Handler(void)
{
  __disable_irq();
  while (1)
  {
  }
}
